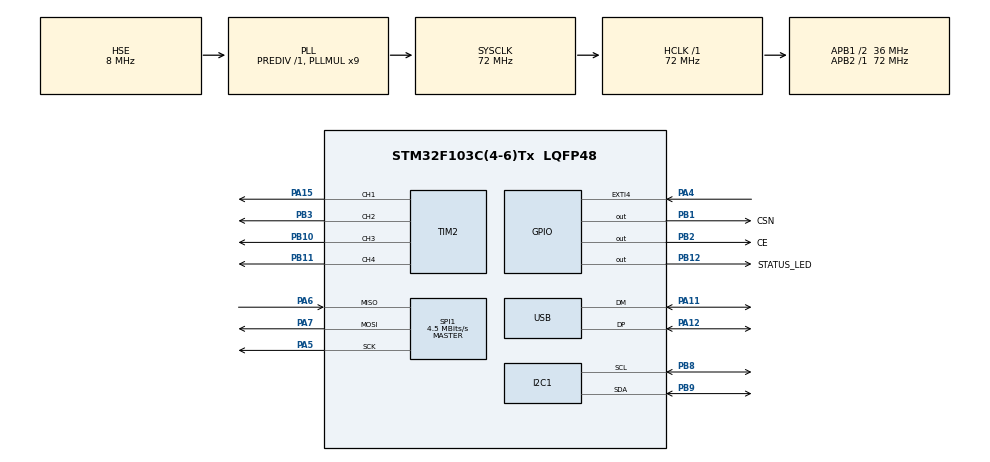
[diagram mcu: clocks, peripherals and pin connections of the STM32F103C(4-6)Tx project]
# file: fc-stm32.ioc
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Mcu.Family=STM32F1
Mcu.Name=STM32F103C(4-6)Tx
Mcu.Package=LQFP48
NVIC.PriorityGroup=NVIC_PRIORITYGROUP_4
NVIC.USB_LP_CAN1_RX0_IRQn=true\:0\:0\:false\:false\:true\:false\:true\:true
PA11.Mode=Device
PA11.Signal=USB_DM
PA12.Mode=Device
PA12.Signal=USB_DP
PA13.Mode=Serial_Wire
PA13.Signal=SYS_JTMS-SWDIO
PA14.Mode=Serial_Wire
PA14.Signal=SYS_JTCK-SWCLK
PA15.Signal=S_TIM2_CH1_ETR
PA4.Signal=GPXTI4
PA5.Mode=Full_Duplex_Master
PA5.Signal=SPI1_SCK
PA6.Mode=Full_Duplex_Master
PA6.Signal=SPI1_MISO
PA7.Mode=Full_Duplex_Master
PA7.Signal=SPI1_MOSI
PB1.GPIO_Label=CSN
PB1.GPIO_PuPd=GPIO_PULLUP
PB1.Signal=GPIO_Output
PB10.Signal=S_TIM2_CH3
PB11.Signal=S_TIM2_CH4
PB12.GPIO_Label=STATUS_LED
PB12.Signal=GPIO_Output
PB2.GPIO_Label=CE
PB2.GPIO_PuPd=GPIO_PULLUP
PB2.Signal=GPIO_Output
PB3.Signal=S_TIM2_CH2
PB8.Mode=I2C
PB8.Signal=I2C1_SCL
PB9.Mode=I2C
PB9.Signal=I2C1_SDA
PD0-OSC_IN.Mode=HSE-External-Oscillator
PD0-OSC_IN.Signal=RCC_OSC_IN
PD1-OSC_OUT.Mode=HSE-External-Oscillator
PD1-OSC_OUT.Signal=RCC_OSC_OUT
ProjectManager.HeapSize=0x200
ProjectManager.StackSize=0x400
ProjectManager.TargetToolchain=Makefile
RCC.AHBFreq_Value=72000000
RCC.APB1CLKDivider=RCC_HCLK_DIV2
RCC.APB1Freq_Value=36000000
RCC.APB1TimFreq_Value=72000000
RCC.APB2Freq_Value=72000000
RCC.APB2TimFreq_Value=72000000
RCC.HCLKFreq_Value=72000000
RCC.PLLMUL=RCC_PLL_MUL9
RCC.PLLSourceVirtual=RCC_PLLSOURCE_HSE
RCC.SYSCLKFreq_VALUE=72000000
RCC.SYSCLKSource=RCC_SYSCLKSOURCE_PLLCLK
RCC.USBFreq_Value=48000000
RCC.USBPrescaler=RCC_USBCLKSOURCE_PLL_DIV1_5
SH.S_TIM2_CH1_ETR.0=TIM2_CH1,PWM Generation1 CH1
SH.S_TIM2_CH2.0=TIM2_CH2,PWM Generation2 CH2
SH.S_TIM2_CH3.0=TIM2_CH3,PWM Generation3 CH3
SH.S_TIM2_CH4.0=TIM2_CH4,PWM Generation4 CH4
SPI1.BaudRatePrescaler=SPI_BAUDRATEPRESCALER_16
SPI1.CLKPolarity=SPI_POLARITY_LOW
SPI1.CRCCalculation=SPI_CRCCALCULATION_DISABLE
SPI1.CalculateBaudRate=4.5 MBits/s
SPI1.Direction=SPI_DIRECTION_2LINES
SPI1.Mode=SPI_MODE_MASTER
SPI1.VirtualType=VM_MASTER
TIM1.Prescaler=72-1
TIM2.Channel-PWM\ Generation1\ CH1=TIM_CHANNEL_1
TIM2.Channel-PWM\ Generation2\ CH2=TIM_CHANNEL_2
TIM2.Channel-PWM\ Generation3\ CH3=TIM_CHANNEL_3
TIM2.Channel-PWM\ Generation4\ CH4=TIM_CHANNEL_4
USB_DEVICE.CLASS_NAME_FS=DFU
USB_DEVICE.VirtualMode=Dfu
USB_DEVICE.VirtualModeFS=Dfu_FS
VP_TIM1_VS_ClockSourceINT.Mode=Internal
VP_USB_DEVICE_VS_USB_DEVICE_DFU_FS.Mode=DFU_FS
board=custom

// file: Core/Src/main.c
/* USER CODE BEGIN Header */
/**
  ******************************************************************************
  * @file           : main.c
  * @brief          : Main program body
  ******************************************************************************
  * @attention
  *
  * Copyright (c) 2023 STMicroelectronics.
  * All rights reserved.
  *
  * This software is licensed under terms that can be found in the LICENSE file
  * in the root directory of this software component.
  * If no LICENSE file comes with this software, it is provided AS-IS.
  *
  ******************************************************************************
  */
/* USER CODE END Header */
#include "main.h"
#include "i2c.h"
#include "spi.h"
#include "tim.h"
#include "usb_device.h"
#include "gpio.h"

/* USER CODE BEGIN Includes */
#include <stdio.h>

#include "nrf24l01.h"
#include "mpu6050.h"
/* USER CODE END Includes */

/* USER CODE BEGIN PV */
NRF24L01_STRUCT nrf24l01;
/* USER CODE END PV */

void SystemClock_Config(void);

int main(void)
{

  /* MCU Configuration--------------------------------------------------------*/

  /* Reset of all peripherals, Initializes the Flash interface and the Systick. */
  HAL_Init();

  /* Configure the system clock */
  SystemClock_Config();

  /* Initialize all configured peripherals */
  MX_GPIO_Init();
  MX_SPI1_Init();
  MX_TIM1_Init();
  MX_I2C1_Init();
  MX_USB_DEVICE_Init();
  MX_TIM2_Init();
  /* USER CODE BEGIN 2 */
  HAL_Delay(1000);

  /* Initialize nrf24l01 */
  nrf24l01.nrf24l01GpioPort = CE_GPIO_Port;
  nrf24l01.csnPin = CSN_Pin;
  nrf24l01.cePin = CE_Pin;
  nrf24l01.spiHandle = &hspi1;

  HAL_Delay(200);
  HAL_StatusTypeDef status =  NRF24L01_Init(
    &nrf24l01,
    RX_DR_INT_SET,   //Interrupt not reflected on IRQ
    TX_DS_INT_SET,   //Interrupt not reflected on IRQ
    MAX_RT_INT_SET,  //Interrupt not reflected on IRQ
    EN_CRC_SET,       //Enable CRC
    ONE_BYTE_ENCODING,
    PRX,
    FIVE_BYTES_ADDR,
    0xF, 0x7, //500uS delay, 15 re-transmissions
    ONE_MBPS_DATA_RATE,
    RF_POWER_1,
    LNA_HCURR_SET
  );

  //NRF24L01_Open_Writing_Pipe(&nrf24l01, 0xc2c2c2c2c2LL);
  NRF24L01_Open_Reading_Pipe(&nrf24l01, RX_ADDR_P1, 0xc2c2c2c2c2LL, 8);

  if(status == HAL_OK){
    HAL_Delay(200);
  }
  NRF24L01_Chanel(&nrf24l01, 44);

  NRF24L01_Print_Info(&nrf24l01);
  NRF24L01_Start_Listening(&nrf24l01);
  //char payload[18] = "hello_from_stm32";
  /* USER CODE END 2 */

  /* Infinite loop */
  /* USER CODE BEGIN WHILE */
  // MPU6050_STRUCT mpu;
  // mpu.hi2c = &hi2c1;
  // uint8_t who_am_i = 0;
  // mpu6050_read_byte(&mpu, 0x75, &who_am_i);
  while (1)
  {
    // NRF24L01_Send(&nrf24l01, payload, 18);

    // NRF24L01_Print_Info(&nrf24l01);
    // HAL_GPIO_TogglePin(GPIOB, GPIO_PIN_12);
    // HAL_Delay(500);

    NRF24L01_Print_Info(&nrf24l01);
    HAL_Delay(1);
    if(NRF24L01_Packet_Available(&nrf24l01) == HAL_OK){
      //NRF24L01_Read_Payload(&nrf24l01, (uint8_t*) msg, 32);
      NRF24L01_Flush_Rx(&nrf24l01);
      HAL_GPIO_TogglePin(GPIOB, GPIO_PIN_12);
      HAL_Delay(500);
      //NRF24L01_Stop_Listening(&nrf24l01);
      //NRF24L01_Flush_Tx(&nrf24l01);
      NRF24L01_Write_Byte(&nrf24l01, NRF_STATUS, (1<<MASK_RX_DR) | (1<<MASK_TX_DS) | (1<<MASK_MAX_RT));
      //NRF24L01_Start_Listening(&nrf24l01);
    }
    HAL_Delay(1);

    /* USER CODE END WHILE */

  }
}

void SystemClock_Config(void)
{
  RCC_OscInitTypeDef RCC_OscInitStruct = {0};
  RCC_ClkInitTypeDef RCC_ClkInitStruct = {0};
  RCC_PeriphCLKInitTypeDef PeriphClkInit = {0};

  /** Initializes the RCC Oscillators according to the specified parameters
  * in the RCC_OscInitTypeDef structure.
  */
  RCC_OscInitStruct.OscillatorType = RCC_OSCILLATORTYPE_HSE;
  RCC_OscInitStruct.HSEState = RCC_HSE_ON;
  RCC_OscInitStruct.HSEPredivValue = RCC_HSE_PREDIV_DIV1;
  RCC_OscInitStruct.HSIState = RCC_HSI_ON;
  RCC_OscInitStruct.PLL.PLLState = RCC_PLL_ON;
  RCC_OscInitStruct.PLL.PLLSource = RCC_PLLSOURCE_HSE;
  RCC_OscInitStruct.PLL.PLLMUL = RCC_PLL_MUL9;
  if (HAL_RCC_OscConfig(&RCC_OscInitStruct) != HAL_OK)
  {
    Error_Handler();
  }

  /** Initializes the CPU, AHB and APB buses clocks
  */
  RCC_ClkInitStruct.ClockType = RCC_CLOCKTYPE_HCLK|RCC_CLOCKTYPE_SYSCLK
                              |RCC_CLOCKTYPE_PCLK1|RCC_CLOCKTYPE_PCLK2;
  RCC_ClkInitStruct.SYSCLKSource = RCC_SYSCLKSOURCE_PLLCLK;
  RCC_ClkInitStruct.AHBCLKDivider = RCC_SYSCLK_DIV1;
  RCC_ClkInitStruct.APB1CLKDivider = RCC_HCLK_DIV2;
  RCC_ClkInitStruct.APB2CLKDivider = RCC_HCLK_DIV1;

  if (HAL_RCC_ClockConfig(&RCC_ClkInitStruct, FLASH_LATENCY_2) != HAL_OK)
  {
    Error_Handler();
  }
  PeriphClkInit.PeriphClockSelection = RCC_PERIPHCLK_USB;
  PeriphClkInit.UsbClockSelection = RCC_USBCLKSOURCE_PLL_DIV1_5;
  if (HAL_RCCEx_PeriphCLKConfig(&PeriphClkInit) != HAL_OK)
  {
    Error_Handler();
  }
}

void Error_Handler(void)
{
  __disable_irq();
  while (1)
  {
  }
}
